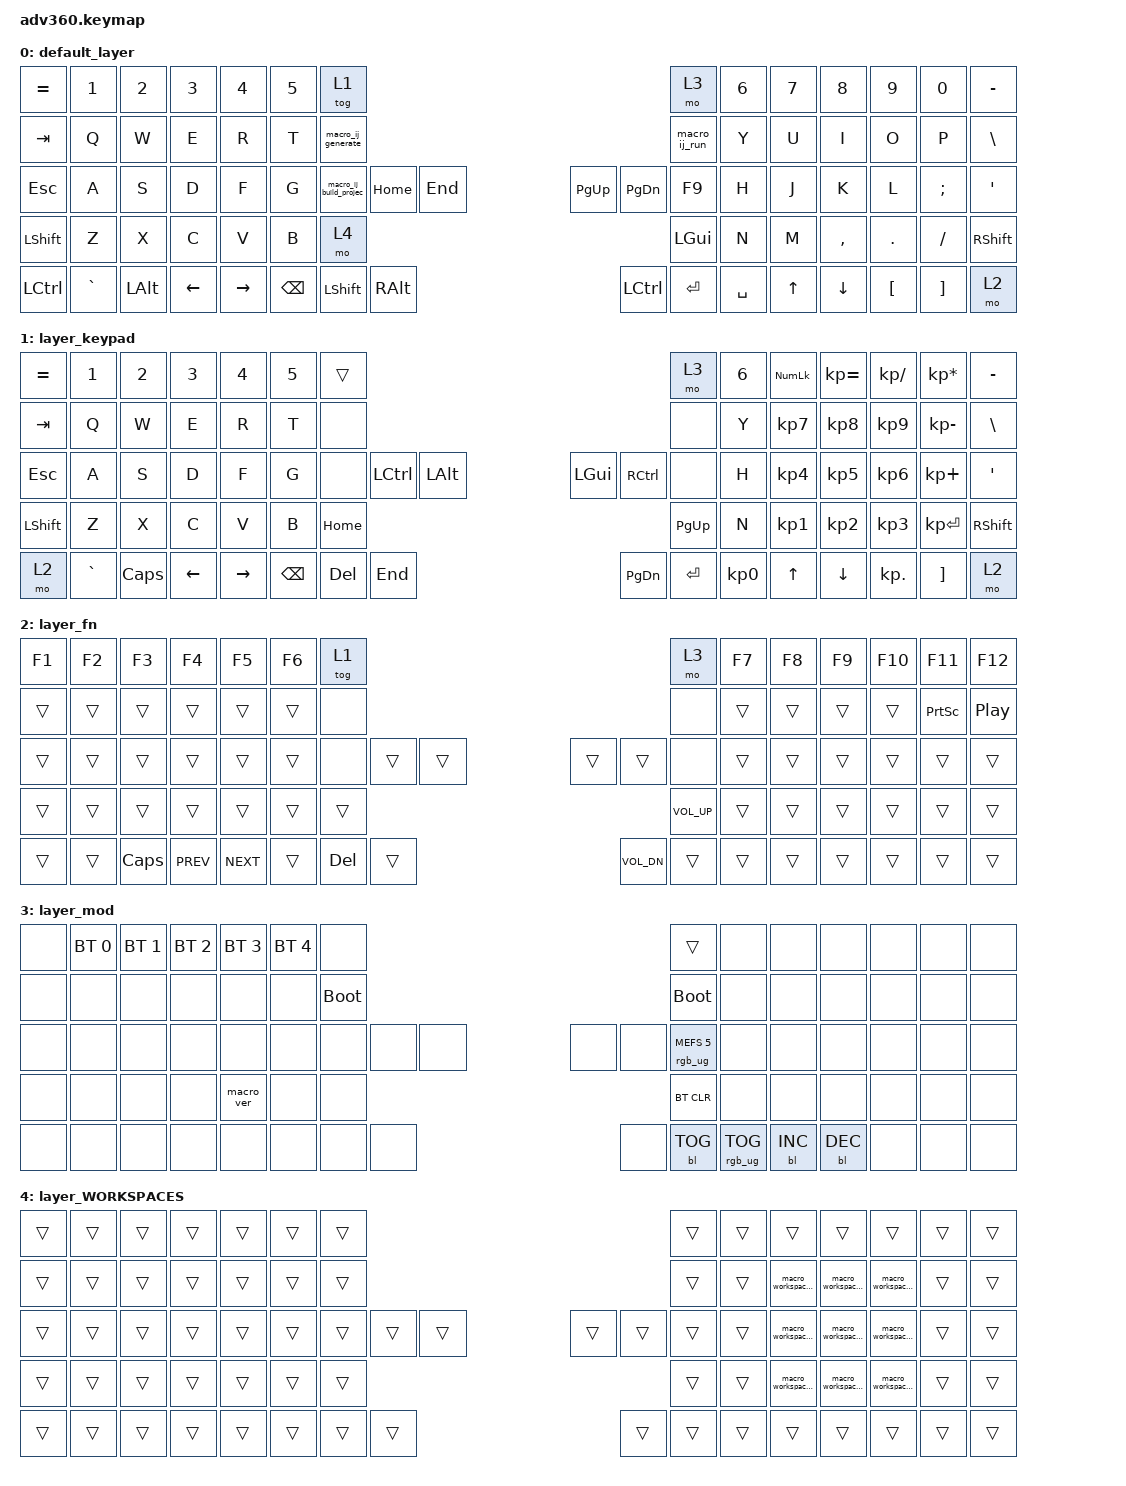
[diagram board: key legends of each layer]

/*
 * Copyright (c) 2020 The ZMK Contributors
 *
 * SPDX-License-Identifier: MIT
 */


/* THIS FILE WAS GENERATED!
 *
 * This file was generated automatically. You may or may not want to
 * edit it directly.
 */

#include <behaviors.dtsi>
#include <dt-bindings/zmk/keys.h>
#include <dt-bindings/zmk/bt.h>
#include <dt-bindings/zmk/rgb.h>
#include <dt-bindings/zmk/backlight.h>

/ {
  behaviors {
    #include "macros.dtsi"
    #include "version.dtsi"

    hm: homerow_mods {
        compatible = "zmk,behavior-hold-tap";
        label = "HOMEROW_MODS";
        #binding-cells = <2>;
        tapping-term-ms = <200>;
        quick_tap_ms = <175>;
        flavor = "tap-preferred";
        bindings = <&kp>, <&kp>;
    };
  };

    keymap {
        compatible = "zmk,keymap";


        default_layer {
            bindings = <
 &kp EQUAL     &kp N1    &kp N2    &kp N3     &kp N4  &kp N5                            &tog 1                                                                            &mo 3  &kp N6  &kp N7     &kp N8    &kp N9    &kp N0  &kp MINUS
   &kp TAB      &kp Q     &kp W     &kp E      &kp R   &kp T                &macro_ij_generate                                                                    &macro_ij_run   &kp Y   &kp U      &kp I     &kp O     &kp P   &kp BSLH
   &kp ESC      &kp A     &kp S     &kp D      &kp F   &kp G            &macro_ij_build_projec    &kp HOME   &kp END                  &kp PAGE_UP  &kp PAGE_DOWN         &kp F9   &kp H   &kp J      &kp K     &kp L  &kp SEMI    &kp SQT
 &kp LSHFT      &kp Z     &kp X     &kp C      &kp V   &kp B                                                   &mo 4                     &kp LGUI                                 &kp N   &kp M  &kp COMMA   &kp DOT  &kp FSLH  &kp RSHFT
 &kp LCTRL  &kp GRAVE  &kp LALT  &kp LEFT  &kp RIGHT                                  &kp BSPC  &kp LSHIFT  &kp RALT                    &kp LCTRL      &kp ENTER      &kp SPACE          &kp UP   &kp DOWN  &kp LBKT  &kp RBKT      &mo 2
            >;
        };

        layer_keypad {
            bindings = <
 &kp EQUAL     &kp N1    &kp N2    &kp N3     &kp N4  &kp N5              &trans                                                                 &mo 3  &kp N6  &kp KP_NUM  &kp KP_EQUAL  &kp KP_DIVIDE  &kp KP_MULTIPLY  &kp MINUS
   &kp TAB      &kp Q     &kp W     &kp E      &kp R   &kp T               &none                                                                 &none   &kp Y   &kp KP_N7     &kp KP_N8      &kp KP_N9     &kp KP_MINUS   &kp BSLH
   &kp ESC      &kp A     &kp S     &kp D      &kp F   &kp G               &none  &kp LCTRL  &kp LALT                   &kp LGUI  &kp RCTRL      &none   &kp H   &kp KP_N4     &kp KP_N5      &kp KP_N6      &kp KP_PLUS    &kp SQT
 &kp LSHFT      &kp Z     &kp X     &kp C      &kp V   &kp B                                 &kp HOME                  &kp PG_UP                         &kp N   &kp KP_N1     &kp KP_N2      &kp KP_N3     &kp KP_ENTER  &kp RSHFT
     &mo 2  &kp GRAVE  &kp CAPS  &kp LEFT  &kp RIGHT                    &kp BSPC    &kp DEL   &kp END                  &kp PG_DN  &kp ENTER  &kp KP_N0              &kp UP      &kp DOWN     &kp KP_DOT         &kp RBKT      &mo 2
            >;
        };

        layer_fn {
            bindings = <
 &kp F1  &kp F2    &kp F3      &kp F4      &kp F5  &kp F6            &tog 1                                                          &mo 3  &kp F7  &kp F8  &kp F9  &kp F10    &kp F11   &kp F12
 &trans  &trans    &trans      &trans      &trans  &trans             &none                                                          &none  &trans  &trans  &trans   &trans  &kp PSCRN  &kp C_PP
 &trans  &trans    &trans      &trans      &trans  &trans             &none   &trans  &trans                        &trans  &trans   &none  &trans  &trans  &trans   &trans     &trans    &trans
 &trans  &trans    &trans      &trans      &trans  &trans                             &trans                  &kp C_VOL_UP                  &trans  &trans  &trans   &trans     &trans    &trans
 &trans  &trans  &kp CAPS  &kp C_PREV  &kp C_NEXT                    &trans  &kp DEL  &trans                  &kp C_VOL_DN  &trans  &trans          &trans  &trans   &trans     &trans    &trans
            >;
        };

        layer_mod {
            bindings = <
  &none  &bt BT_SEL 0  &bt BT_SEL 1  &bt BT_SEL 2  &bt BT_SEL 3  &bt BT_SEL 4                  &none                                                                          &trans   &none       &none       &none   &none   &none   &none
  &none         &none         &none         &none         &none         &none            &bootloader                                                                     &bootloader   &none       &none       &none   &none   &none   &none
  &none         &none         &none         &none         &none         &none                  &none   &none   &none                       &none       &none  &rgb_ug RGB_MEFS_CMD 5   &none       &none       &none   &none   &none   &none
  &none         &none         &none         &none    &macro_ver         &none                                  &none                  &bt BT_CLR                                       &none       &none       &none   &none   &none   &none
  &none         &none         &none         &none         &none                                &none   &none   &none                       &none  &bl BL_TOG         &rgb_ug RGB_TOG          &bl BL_INC  &bl BL_DEC   &none   &none   &none
            >;
        };

        layer_WORKSPACES {
            bindings = <
 &trans  &trans  &trans  &trans  &trans  &trans            &trans                                                  &trans  &trans              &trans              &trans              &trans  &trans  &trans
 &trans  &trans  &trans  &trans  &trans  &trans            &trans                                                  &trans  &trans  &macro_workspace_7  &macro_workspace_8  &macro_workspace_9  &trans  &trans
 &trans  &trans  &trans  &trans  &trans  &trans            &trans  &trans  &trans                  &trans  &trans  &trans  &trans  &macro_workspace_4  &macro_workspace_5  &macro_workspace_6  &trans  &trans
 &trans  &trans  &trans  &trans  &trans  &trans                            &trans                  &trans                  &trans  &macro_workspace_1  &macro_workspace_2  &macro_workspace_3  &trans  &trans
 &trans  &trans  &trans  &trans  &trans                    &trans  &trans  &trans                  &trans  &trans  &trans                      &trans              &trans              &trans  &trans  &trans
            >;
        };

    };
};
